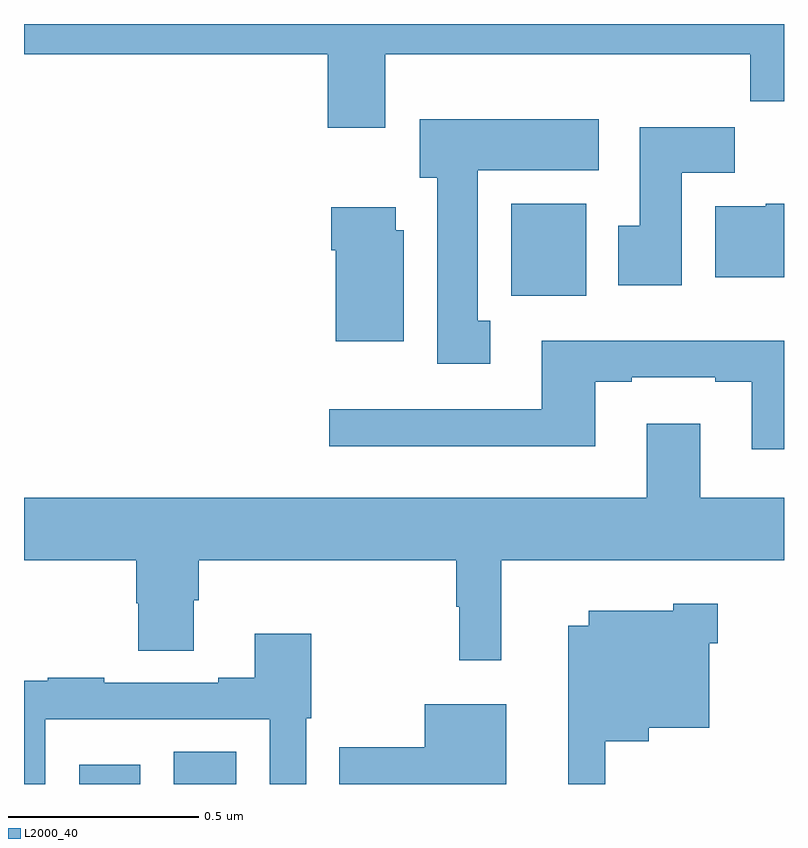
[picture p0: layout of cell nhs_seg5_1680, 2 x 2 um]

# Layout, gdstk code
import gdstk
lib = gdstk.Library(unit=1e-6, precision=1e-09)
def R(c, l, rs):  # rectangles x0, y0, x1, y1
    for r in rs: c.add(gdstk.rectangle(r[:2], r[2:], *l))
def P(c, l, *ps):  # polygons
    for p in ps: c.add(gdstk.Polygon(p, *l))
L2000_40 = (2000, 40)

nhs_seg5_1680 = lib.new_cell('nhs_seg5_1680')
R(nhs_seg5_1680, L2000_40, [(133.145,894.799,133.306,894.85), (133.394,894.799,133.558,894.884), (134.282,896.084,134.479,896.326)])
P(nhs_seg5_1680, L2000_40, [(133.951,896.72),(134.911,896.72),(134.911,896.596),(135,896.596),(135,896.799),(133,896.799),(133,896.72),(133.799,896.72),(133.799,896.526),(133.951,896.526)],
  [(134.227,896.018),(134.194,896.018),(134.194,896.414),(134.512,896.414),(134.512,896.548),(134.042,896.548),(134.042,896.394),(134.087,896.394),(134.087,895.905),(134.227,895.905)],
  [(134.731,896.408),(134.87,896.408),(134.87,896.527),(134.621,896.527),(134.621,896.268),(134.564,896.268),(134.564,896.112),(134.731,896.112)],
  [(135,896.326),(134.952,896.326),(134.952,896.32),(134.819,896.32),(134.819,896.132),(135,896.132)],
  [(133.999,896.256),(133.978,896.256),(133.978,896.317),(133.808,896.317),(133.808,896.204),(133.82,896.204),(133.82,895.964),(133.999,895.964)],
  [(135,895.966),(134.363,895.966),(134.363,895.785),(133.803,895.785),(133.803,895.688),(134.503,895.688),(134.503,895.857),(134.599,895.857),(134.599,895.869),(134.819,895.869),(134.819,895.857),(134.915,895.857),(134.915,895.68),(135,895.68)],
  [(133,895.388),(133.295,895.388),(133.295,895.275),(133.3,895.275),(133.3,895.15),(133.447,895.15),(133.447,895.282),(133.46,895.282),(133.46,895.388),(134.137,895.388),(134.137,895.265),(134.145,895.265),(134.145,895.125),(134.256,895.125),(134.256,895.388),(135,895.388),(135,895.552),(134.779,895.552),(134.779,895.747),(134.639,895.747),(134.639,895.552),(133,895.552)],
  [(134.529,894.911),(134.644,894.911),(134.644,894.947),(134.803,894.947),(134.803,895.169),(134.825,895.169),(134.825,895.273),(134.709,895.273),(134.709,895.255),(134.486,895.255),(134.486,895.216),(134.432,895.216),(134.432,894.799),(134.529,894.799)],
  [(133.056,894.969),(133.647,894.969),(133.647,894.799),(133.743,894.799),(133.743,894.972),(133.756,894.972),(133.756,895.195),(133.607,895.195),(133.607,895.078),(133.511,895.078),(133.511,895.065),(133.211,895.065),(133.211,895.078),(133.063,895.078),(133.063,895.071),(133,895.071),(133,894.799),(133.056,894.799)],
  [(134.269,895.009),(134.054,895.009),(134.054,894.896),(133.83,894.896),(133.83,894.799),(134.269,894.799)])

lib.write_gds('nhs_seg5_1680.gds')
